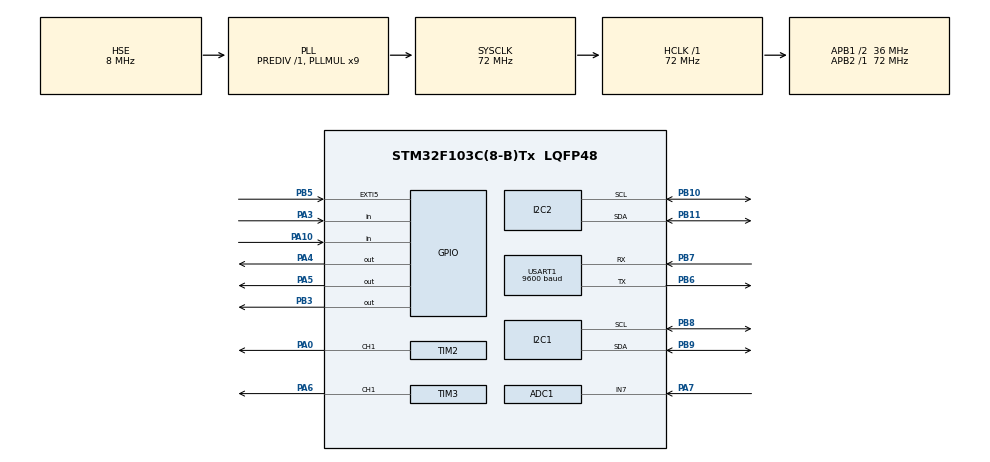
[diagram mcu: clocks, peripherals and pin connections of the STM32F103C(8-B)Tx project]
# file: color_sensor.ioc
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ADC1.Channel-0\#ChannelRegularConversion=ADC_CHANNEL_7
ADC1.NbrOfConversionFlag=1
ADC1.Rank-0\#ChannelRegularConversion=1
ADC1.SamplingTime-0\#ChannelRegularConversion=ADC_SAMPLETIME_239CYCLES_5
ADC1.master=1
I2C1.I2C_Mode=I2C_Fast
Mcu.Family=STM32F1
Mcu.Name=STM32F103C(8-B)Tx
Mcu.Package=LQFP48
NVIC.ADC1_2_IRQn=true\:0\:0\:false\:false\:true\:true\:true\:true
NVIC.EXTI9_5_IRQn=true\:0\:0\:false\:false\:true\:true\:true\:true
NVIC.PriorityGroup=NVIC_PRIORITYGROUP_4
NVIC.TIM2_IRQn=true\:0\:0\:false\:false\:true\:true\:true\:true
NVIC.TIM3_IRQn=true\:0\:0\:false\:false\:true\:true\:true\:true
NVIC.USART1_IRQn=true\:1\:0\:true\:false\:true\:true\:true\:true
PA0-WKUP.Signal=S_TIM2_CH1_ETR
PA10.Signal=GPIO_Input
PA13.Mode=Serial_Wire
PA13.Signal=SYS_JTMS-SWDIO
PA14.Mode=Serial_Wire
PA14.Signal=SYS_JTCK-SWCLK
PA3.GPIO_PuPd=GPIO_PULLDOWN
PA3.Signal=GPIO_Input
PA4.Signal=GPIO_Output
PA5.Signal=GPIO_Output
PA6.Signal=S_TIM3_CH1
PA7.Signal=ADCx_IN7
PB10.Mode=I2C
PB10.Signal=I2C2_SCL
PB11.Mode=I2C
PB11.Signal=I2C2_SDA
PB3.GPIO_PuPd=GPIO_PULLDOWN
PB3.Signal=GPIO_Output
PB5.GPIO_ModeDefaultEXTI=GPIO_MODE_IT_FALLING
PB5.GPIO_PuPd=GPIO_PULLUP
PB5.Signal=GPXTI5
PB6.Mode=Asynchronous
PB6.Signal=USART1_TX
PB7.Mode=Asynchronous
PB7.Signal=USART1_RX
PB8.Mode=I2C
PB8.Signal=I2C1_SCL
PB9.Mode=I2C
PB9.Signal=I2C1_SDA
PD0-OSC_IN.Mode=HSE-External-Oscillator
PD0-OSC_IN.Signal=RCC_OSC_IN
PD1-OSC_OUT.Mode=HSE-External-Oscillator
PD1-OSC_OUT.Signal=RCC_OSC_OUT
ProjectManager.HeapSize=0x200
ProjectManager.StackSize=0x400
ProjectManager.TargetToolchain=STM32CubeIDE
RCC.ADCPresc=RCC_ADCPCLK2_DIV6
RCC.AHBFreq_Value=72000000
RCC.APB1CLKDivider=RCC_HCLK_DIV2
RCC.APB1Freq_Value=36000000
RCC.APB1TimFreq_Value=72000000
RCC.APB2Freq_Value=72000000
RCC.APB2TimFreq_Value=72000000
RCC.HCLKFreq_Value=72000000
RCC.PLLMUL=RCC_PLL_MUL9
RCC.PLLSourceVirtual=RCC_PLLSOURCE_HSE
RCC.SYSCLKFreq_VALUE=72000000
RCC.SYSCLKSource=RCC_SYSCLKSOURCE_PLLCLK
RCC.USBFreq_Value=72000000
SH.ADCx_IN7.0=ADC1_IN7,IN7
SH.S_TIM2_CH1_ETR.0=TIM2_CH1,PWM Generation1 CH1
SH.S_TIM3_CH1.0=TIM3_CH1,PWM Generation1 CH1
TIM2.Channel-PWM\ Generation1\ CH1=TIM_CHANNEL_1
TIM2.Period=10000-1
TIM2.Prescaler=144-1
TIM3.Channel-PWM\ Generation1\ CH1=TIM_CHANNEL_1
TIM3.Period=800-1
TIM3.Prescaler=72-1
USART1.BaudRate=9600
USART1.VirtualMode=VM_ASYNC
VP_TIM2_VS_ClockSourceINT.Mode=Internal
VP_TIM3_VS_ClockSourceINT.Mode=Internal
board=custom

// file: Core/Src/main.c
/* USER CODE BEGIN Header */
/**
  ******************************************************************************
  * @file           : main.c
  * @brief          : Main program body
  ******************************************************************************
  * @attention
  *
  * Copyright (c) 2024 STMicroelectronics.
  * All rights reserved.
  *
  * This software is licensed under terms that can be found in the LICENSE file
  * in the root directory of this software component.
  * If no LICENSE file comes with this software, it is provided AS-IS.
  *
  ******************************************************************************
  */
/* USER CODE END Header */
#include "main.h"

/* USER CODE BEGIN Includes */
#include <string.h>
#include <stdio.h>
#include "i2c_lcd.h"
/* USER CODE END Includes */

ADC_HandleTypeDef hadc1;

I2C_HandleTypeDef hi2c1;
I2C_HandleTypeDef hi2c2;

TIM_HandleTypeDef htim2;
TIM_HandleTypeDef htim3;

UART_HandleTypeDef huart1;

/* USER CODE BEGIN PV */
I2C_LCD_HandleTypeDef lcd1;
#define IR_PIN_1    GPIO_PIN_3
#define IR_PORT_1   GPIOA

#define ENABLE_PIN  GPIO_PIN_4
#define ENABLE_PORT GPIOA
#define DIR_PIN     GPIO_PIN_5
#define DIR_PORT    GPIOA
#define DIR_COUNTERCLOCKWISE      GPIO_PIN_RESET
#define MOTOR_ENABLED      GPIO_PIN_RESET
#define MOTOR_DISABLED      GPIO_PIN_SET

#define BUTTON GPIO_PIN_5
#define BUTTON_PORT GPIOB
// khai bao cho ir va mau sac
char data[50];
int IR_1;
int flag_red = 0;
int flag_green = 0;
int flag_blue = 0;
int flag_error = 0;
int flag =0;

int counting_red = 0;
int counting_green = 0;
int counting_blue = 0;
int flag_IR_1 = 0;
#define RGB_SAMPLES 10

uint32_t red_values[RGB_SAMPLES] = {0};
uint32_t green_values[RGB_SAMPLES] = {0};
uint32_t blue_values[RGB_SAMPLES] = {0};

//khai bao servo
uint32_t new_angle = 0;
uint32_t current_angle = 750;
uint16_t Pulse_up = 500;
//khai bao button
uint8_t Mode = 1;
volatile uint8_t motor_state = 1;
uint8_t toggle_state = 0; // Biến lưu trạng thái bật/tắt
uint8_t last_button_state = 1; // Biến lưu trạng thái nút trước đó (giả sử nút có Pull-up)
//uint32_t speed = 0;
//uint32_t currentspeed = 0;
//uint32_t min_speed = 350;
//uint32_t max_speed = 450;

// khai bao lcd
char buffer_red[50];
char buffer_green[50];
char buffer_blue[50];
/* USER CODE END PV */

void SystemClock_Config(void);
static void MX_GPIO_Init(void);
static void MX_I2C1_Init(void);
static void MX_USART1_UART_Init(void);
static void MX_TIM2_Init(void);
static void MX_TIM3_Init(void);
static void MX_ADC1_Init(void);
static void MX_I2C2_Init(void);

/* USER CODE BEGIN 0 */
#define TCS34725_ADDRESS          (0x29 << 1) /* I2C address */
/* Datasheet is at https://cdn-shop.adafruit.com/datasheets/TCS34725.pdf */
#define TCS34725_COMMAND_BIT      (0x80)      /* Command bit */
#define TCS34725_ENABLE           (0x00)      /* Enable register */
#define TCS34725_ENABLE_AEN       (0x02)      /* RGBC Enable */
#define TCS34725_ENABLE_PON       (0x01)      /* Power on */
#define TCS34725_ATIME            (0x01)      /* Integration time */
#define TCS34725_CONTROL          (0x0F)      /* Set the gain level */
#define TCS34725_ID               (0x12)
/* 0x44 = TCS34721/TCS34725, 0x4D = TCS34723/TCS34727 */
#define TCS34725_CDATAL           (0x14)      /* Clear channel data */
#define TCS34725_CDATAH           (0x15)
#define TCS34725_RDATAL           (0x16)      /* Red channel data */
#define TCS34725_RDATAH           (0x17)
#define TCS34725_GDATAL           (0x18)      /* Green channel data */
#define TCS34725_GDATAH           (0x19)
#define TCS34725_BDATAL           (0x1A)      /* Blue channel data */
#define TCS34725_BDATAH           (0x1B)
/* set the correct delay time in void getRawData() for TCS34725_INTEGRATIONTIME */
#define TCS34725_INTEGRATIONTIME_50MS   0xEB  /* 50ms  - 20 cycles */
#define TCS34725_GAIN_4X                0x01  /* 4x gain  */

uint8_t _tcs34725Initialised = 0;
int red, green, blue;

void write8 (uint8_t reg, uint32_t value);
uint8_t read8(uint8_t reg);
uint16_t read16(uint8_t reg);
void enable(void);
void disable(void);
void setIntegrationTime(uint8_t it);
void setGain(uint8_t gain);
void tcs3272_init( void );
void getRawData (uint16_t *r, uint16_t *g, uint16_t *b, uint16_t *c);
void getRGB(int *R, int *G, int *B);
void AverageFiltered(int* red, int* green, int* blue);
/* Writes a register and an 8 bit value over I2C */
void write8 (uint8_t reg, uint32_t value)
{
    uint8_t txBuffer[2];
    txBuffer[0] = (TCS34725_COMMAND_BIT | reg);
    txBuffer[1] = (value & 0xFF);
    HAL_I2C_Master_Transmit(&hi2c1, TCS34725_ADDRESS, txBuffer, 2, 100);
}

/* Reads an 8 bit value over I2C */
uint8_t read8(uint8_t reg)
{
    uint8_t buffer[1];
    buffer[0] = (TCS34725_COMMAND_BIT | reg);
    HAL_I2C_Master_Transmit(&hi2c1, TCS34725_ADDRESS, buffer, 1, 100);
    HAL_I2C_Master_Receive(&hi2c1, TCS34725_ADDRESS, buffer, 1, 100);
    return buffer[0];
}

/* Reads a 16 bit values over I2C */
uint16_t read16(uint8_t reg)
{
  uint16_t ret;
    uint8_t txBuffer[1],rxBuffer[2];
    txBuffer[0] = (TCS34725_COMMAND_BIT | reg);
    HAL_I2C_Master_Transmit(&hi2c1, TCS34725_ADDRESS, txBuffer, 1, 100);
    HAL_I2C_Master_Receive(&hi2c1, TCS34725_ADDRESS, rxBuffer, 2, 100);
    ret = rxBuffer[1];
    ret <<= 8;
    ret |= rxBuffer[0] & 0xFF;
  return ret;
}

void enable(void)
{
  write8(TCS34725_ENABLE, TCS34725_ENABLE_PON);
  HAL_Delay(3);
  write8(TCS34725_ENABLE, TCS34725_ENABLE_PON | TCS34725_ENABLE_AEN);
  HAL_Delay(50);
}

void disable(void)
{
  /* Turn the device off to save power */
  uint8_t reg = 0;
  reg = read8(TCS34725_ENABLE);
  write8(TCS34725_ENABLE, reg & ~(TCS34725_ENABLE_PON | TCS34725_ENABLE_AEN));
}

void setIntegrationTime(uint8_t itime)
{
  if (_tcs34725Initialised == 0) tcs3272_init();
  write8(TCS34725_ATIME, itime);
}

void setGain(uint8_t gain)
{
  if (_tcs34725Initialised == 0) tcs3272_init();
  write8(TCS34725_CONTROL, gain);
}

void tcs3272_init(void)
{
  /* Make sure we're actually connected */
  uint8_t readValue = read8(TCS34725_ID);
  if ((readValue != 0x44) && (readValue != 0x10))
  {
    return;
  }
  _tcs34725Initialised = 1;
  /* Set default integration time and gain */
  setIntegrationTime(TCS34725_INTEGRATIONTIME_50MS);
  setGain(TCS34725_GAIN_4X);
  /* Note: by default, the device is in power down mode on bootup */
  enable();
}

/* Get raw data */
void getRawData (uint16_t *r, uint16_t *g, uint16_t *b, uint16_t *c)
{
  if (_tcs34725Initialised == 0) tcs3272_init();

  *c = read16(TCS34725_CDATAL);
  *r = read16(TCS34725_RDATAL);
  *g = read16(TCS34725_GDATAL);
  *b = read16(TCS34725_BDATAL);
  /* Delay time is from page no 16/26 from the datasheet  (256 − ATIME)* 2.4ms */
  HAL_Delay(50); // Set delay for (256 − 0xEB)* 2.4ms = 50ms
}

/* Get Red, Green and Blue color from Raw Data */
void getRGB(int *R, int *G, int *B)
{
    uint16_t rawRed, rawGreen, rawBlue, rawClear;
    getRawData(&rawRed, &rawGreen, &rawBlue, &rawClear);
    if(rawClear == 0)
    {
      *R = 0;
      *G = 0;
      *B = 0;
    }
    else
    {
      *R = (int)rawRed * 255 / rawClear;
      *G = (int)rawGreen * 255 / rawClear;
      *B = (int)rawBlue * 255 / rawClear;
    }
}
void AverageFiltered(int* red, int* green, int* blue)
{
    int sum_red = 0, sum_green = 0, sum_blue = 0;
    for (int i = 0; i < RGB_SAMPLES; i++) {

        int current_red, current_green, current_blue;
        getRGB(&current_red, &current_green, &current_blue);

        sum_red += current_red;
        sum_green += current_green;
        sum_blue += current_blue;
    }

    *red = sum_red / RGB_SAMPLES;
    *green = sum_green / RGB_SAMPLES;
    *blue = sum_blue / RGB_SAMPLES;
}

void StepperMotor_Start(void)
{
    //	HAL_ADC_Start_IT(&hadc1);
	HAL_TIM_PWM_Start_IT(&htim3, TIM_CHANNEL_1);
    HAL_GPIO_WritePin(ENABLE_PORT, ENABLE_PIN, MOTOR_ENABLED);
    __HAL_TIM_SET_COMPARE(&htim3, TIM_CHANNEL_1, Pulse_up);
    HAL_GPIO_WritePin(DIR_PORT, DIR_PIN, DIR_COUNTERCLOCKWISE);
}

void StepperMotor_Stop(void) {

    HAL_GPIO_WritePin(ENABLE_PORT, ENABLE_PIN, MOTOR_DISABLED );
    HAL_TIM_PWM_Stop_IT(&htim3, TIM_CHANNEL_1);
}

void checkColor(int red, int green, int blue)
{
//    if ((red > 160) )
//    {
//        flag_red = 1;
//        HAL_GPIO_WritePin(GPIOB, GPIO_PIN_3, GPIO_PIN_RESET);
//    }else if( green > 103 )
//    {
//    	flag_green = 1;
//    	HAL_GPIO_WritePin(GPIOB, GPIO_PIN_3, GPIO_PIN_RESET);
//    }else if( blue > 85)
//    {
//    	flag_blue = 1;
//    	HAL_GPIO_WritePin(GPIOB, GPIO_PIN_3, GPIO_PIN_RESET);
//    }
//

    if ((red > 190 && green < 40 && blue <= 35) )
      {
          flag_red = 1;
          HAL_GPIO_WritePin(GPIOB, GPIO_PIN_3, GPIO_PIN_RESET);
      }else if(red >= 90 && green > 105 && blue > 41)
      {
      	flag_green = 1;
      	HAL_GPIO_WritePin(GPIOB, GPIO_PIN_3, GPIO_PIN_RESET);
      }else if(red < 90 && (green > 88 && green < 100)  && blue > 85)
      {
      	flag_blue = 1;
      	HAL_GPIO_WritePin(GPIOB, GPIO_PIN_3, GPIO_PIN_RESET);
      }else{
      	flag_error = 1;
      }
//    	//flag_error = 1;
//    // detect yellow
//        else if ((red >= 145) && (red <= 160) && (green >= 60 && green <= 70) && (blue >= 22 && blue <= 36))
//        {
//        	flag_error = 1;
//        }
//            // detect orange
//        else if ((red >= 160) && (red < 190) && (green >= 40 && green <= 60) && (blue >= 22 && blue <= 36))
//        {
//        	flag_error = 1;
//        }
//        // detect pink
//        else if ((red >= 188) && (red <= 200) && ( green < 44) && (blue > 35 && blue <= 40))
//        {
//        	flag_error = 1;
//        }
//
//        else
//        {
//        	flag_error = 1;
//        }

}

void updateAngle(uint32_t new_angle)
{
    if (current_angle != new_angle)
    {
        if (current_angle < new_angle)
        {
            for (int y = current_angle; y <= new_angle; y += 3)
            {
                __HAL_TIM_SET_COMPARE(&htim2, TIM_CHANNEL_1, y);
                HAL_Delay(3);
            }
        }
        else if (current_angle > new_angle)
        {
            for (int y = current_angle; y >= new_angle; y -= 3)
            {
                __HAL_TIM_SET_COMPARE(&htim2, TIM_CHANNEL_1, y);
                HAL_Delay(3);
            }
        }
        current_angle = new_angle;
    }
    else
    {
        __HAL_TIM_SET_COMPARE(&htim2, TIM_CHANNEL_1, new_angle);
    }
}

void controlServo(int red, int green, int blue)
{
    if (flag_red == 1)
    {
        new_angle = 750;
        updateAngle(new_angle);
        flag_red = 0;
        counting_red++;
    }
    else if (flag_green == 1)
    {
        new_angle = 250;
        updateAngle(new_angle);
        flag_green = 0;
        counting_green++;
    }
    else if (flag_blue == 1)
    {
        new_angle = 1175;
        updateAngle(new_angle);
        flag_blue = 0;
        counting_blue++;
    }
    else if(flag_error == 1)
    {
    	HAL_GPIO_WritePin(GPIOB, GPIO_PIN_3, GPIO_PIN_SET);
    	HAL_Delay(1000);
    	HAL_GPIO_WritePin(GPIOB, GPIO_PIN_3, GPIO_PIN_RESET);
    	flag_error = 0;
    	StepperMotor_Stop();
    	motor_state = 0;

    }
}

void update_number(int red, int green, int blue)
{
 	  sprintf(buffer_red, "%u" , red);
 	  lcd_gotoxy(&lcd1, 0, 1);
 	  lcd_puts(&lcd1, buffer_red);
 	  sprintf(buffer_green, "%u" , green);
 	  lcd_gotoxy(&lcd1, 7, 1);
 	  lcd_puts(&lcd1, buffer_green);
 	  sprintf(buffer_blue, "%u" , blue);
 	  lcd_gotoxy(&lcd1, 13, 1);
 	  lcd_puts(&lcd1, buffer_blue);
}

void print_out(int red, int green, int blue)
{
 		lcd_gotoxy(&lcd1, 0, 0);
 		lcd_puts(&lcd1, "RED  GREEN  BLUE");
 		update_number(red, green, blue);
}

void checkIRAndControl()
{
    IR_1 = HAL_GPIO_ReadPin(IR_PORT_1, IR_PIN_1);

    if (IR_1 == 0)
    {
        flag_IR_1 = 1;
    }

    if (IR_1 == 1 && flag_IR_1 == 1)
    {
        controlServo(red, green, blue);
        char buffer_counting[100];
        int length_counting = snprintf(buffer_counting, sizeof(buffer_counting), "Red objects: %d, Green objects: %d, Blue objects: %d\r\n", counting_red, counting_green, counting_blue);
        HAL_UART_Transmit(&huart1, (uint8_t*)buffer_counting, length_counting, 1000);
        print_out(counting_red, counting_green, counting_blue);
        flag_IR_1 = 0;
    }
}

/* USER CODE END 0 */

int main(void)
{

  /* MCU Configuration--------------------------------------------------------*/

  /* Reset of all peripherals, Initializes the Flash interface and the Systick. */
  HAL_Init();

  /* Configure the system clock */
  SystemClock_Config();

  /* Initialize all configured peripherals */
  MX_GPIO_Init();
  MX_I2C1_Init();
  MX_USART1_UART_Init();
  MX_TIM2_Init();
  MX_TIM3_Init();
  MX_ADC1_Init();
  MX_I2C2_Init();
  /* USER CODE BEGIN 2 */
  lcd1.hi2c = &hi2c2;
  lcd1.address = 0x4E;
  lcd_init(&lcd1);
  print_out(counting_red, counting_green, counting_blue);
  HAL_TIM_PWM_Start_IT(&htim2, TIM_CHANNEL_1) ;
  StepperMotor_Start();
//  HAL_TIM_PWM_Start_IT(&htim3, TIM_CHANNEL_1);

  /* USER CODE END 2 */

  /* Infinite loop */
  while (1)
  {

    /* USER CODE BEGIN 3 */
	  if (motor_state)
	  {
		  //StepperMotor_Stop();
		  StepperMotor_Start();
	  }
	  else if (motor_state == 0)
	  {
		  StepperMotor_Stop();
	  }
      AverageFiltered(&red, &green, &blue);
	  checkColor(red, green, blue);
	  checkIRAndControl();
	  char buffer[50];
	  int length = snprintf(buffer, sizeof(buffer), "Red: %d, Green: %d, Blue: %d\r\n", red, green, blue);
	  HAL_UART_Transmit(&huart1, (uint8_t*)buffer, length, 1000);
//	  AverageFiltered(&red, &green, &blue);
	  // Kiểm tra IR và control servo
//      IR_1 = HAL_GPIO_ReadPin(IR_PORT_1, IR_PIN_1);
//      if(red  > 140)
//      {
//      flag_red = 1;
//      }
//      else if(green > 105)
//      {
//      flag_green = 1;
//      }
//      else if(blue > 90)
//      {
//      flag_blue = 1;
//      }
//      if(IR_1 == 0 ){
//      flag_IR_1=1;
//      }
//
//      if(IR_1 == 1 && flag_IR_1 == 1 ){
//      if(flag_red == 1)
//      {
//    	  new_angle = 750;
//    	      	  if (current_angle != new_angle)
//    	      	  {
//    	      		  if (current_angle < new_angle)
//    	      	      {
//    	      			  for(int y = current_angle; y <= new_angle;  y+=3)
//    	      			  {
//    	      				  __HAL_TIM_SET_COMPARE(&htim2,TIM_CHANNEL_1, y);
//    	      			        HAL_Delay(3);
//    	      			  }
//    	      	      }
//
//    	      	      else if (current_angle > new_angle)
//    	      	      {
//    	      	    	  for(int y = current_angle; y >= new_angle;  y-=3)
//    	      	    	  {
//    	      	    		  __HAL_TIM_SET_COMPARE(&htim2,TIM_CHANNEL_1, y);
//    	      	    		  HAL_Delay(3);
//    	      	    	  }
//
//    	      	      }
//    	      	   current_angle = new_angle;
//
//    	      	   }
//    	      	  else {
//    	      		  __HAL_TIM_SET_COMPARE(&htim2, TIM_CHANNEL_1, new_angle);
//    	      	  }
//
//    	  flag_red = 0;
//    	  counting_red++;
//      }
//      else if(flag_green == 1)
//      {
//    	  new_angle = 250;
//    	      	  if (current_angle != new_angle)
//    	      	  {
//    	      		  if (current_angle < new_angle)
//    	      	      {
//    	      			  for(int y = current_angle; y <= new_angle;  y+=3)
//    	      			  {
//    	      				  __HAL_TIM_SET_COMPARE(&htim2,TIM_CHANNEL_1, y);
//    	      			        HAL_Delay(3);
//    	      			  }
//    	      	      }
//
//    	      	      else if (current_angle > new_angle)
//    	      	      {
//    	      	    	  for(int y = current_angle; y >= new_angle;  y-=3)
//    	      	    	  {
//    	      	    		  __HAL_TIM_SET_COMPARE(&htim2,TIM_CHANNEL_1, y);
//    	      	    		  HAL_Delay(3);
//    	      	    	  }
//
//    	      	      }
//    	      	   current_angle = new_angle;
//
//    	      	   }
//    	      	  else {
//    	      		  __HAL_TIM_SET_COMPARE(&htim2, TIM_CHANNEL_1, new_angle);
//    	      	  }
//
//          flag_green = 0;
//          counting_green ++;
//      }
//
//      else if(flag_blue == 1 )
//      {
//    	  new_angle = 1175;
//    	      	      	  if (current_angle != new_angle)
//    	      	      	  {
//    	      	      		  if (current_angle < new_angle)
//    	      	      	      {
//    	      	      			  for(int y = current_angle; y <= new_angle; y+=3)
//    	      	      			  {
//    	      	      				  __HAL_TIM_SET_COMPARE(&htim2,TIM_CHANNEL_1, y);
//    	      	      			        HAL_Delay(3);
//    	      	      			  }
//    	      	      	      }
//
//    	      	      	      else if (current_angle > new_angle)
//    	      	      	      {
//    	      	      	    	  for(int y = current_angle; y >= new_angle;  y-=3)
//    	      	      	    	  {
//    	      	      	    		  __HAL_TIM_SET_COMPARE(&htim2,TIM_CHANNEL_1, y);
//    	      	      	    		  HAL_Delay(3);
//    	      	      	    	  }
//
//    	      	      	      }
//    	      	      	   current_angle = new_angle;
//
//    	      	      	   }
//    	      	      	  else {
//    	      	      		  __HAL_TIM_SET_COMPARE(&htim2, TIM_CHANNEL_1, new_angle);
//    	      	      	  }
//    	  flag_blue = 0;
//    	  counting_blue ++;
//
//      }
//      char buffer_counting[100];
//      int length_counting = snprintf(buffer_counting, sizeof(buffer_counting), "Red objects: %d, Green objects: %d, Blue objects: %d\r\n", counting_red, counting_green, counting_blue);
//      HAL_UART_Transmit(&huart1, (uint8_t*)buffer_counting, length_counting, 1000);
//      flag_IR_1 = 0;
//      }
//
//

  }
  /* USER CODE END 3 */
}

void SystemClock_Config(void)
{
  RCC_OscInitTypeDef RCC_OscInitStruct = {0};
  RCC_ClkInitTypeDef RCC_ClkInitStruct = {0};
  RCC_PeriphCLKInitTypeDef PeriphClkInit = {0};

  /** Initializes the RCC Oscillators according to the specified parameters
  * in the RCC_OscInitTypeDef structure.
  */
  RCC_OscInitStruct.OscillatorType = RCC_OSCILLATORTYPE_HSE;
  RCC_OscInitStruct.HSEState = RCC_HSE_ON;
  RCC_OscInitStruct.HSEPredivValue = RCC_HSE_PREDIV_DIV1;
  RCC_OscInitStruct.HSIState = RCC_HSI_ON;
  RCC_OscInitStruct.PLL.PLLState = RCC_PLL_ON;
  RCC_OscInitStruct.PLL.PLLSource = RCC_PLLSOURCE_HSE;
  RCC_OscInitStruct.PLL.PLLMUL = RCC_PLL_MUL9;
  if (HAL_RCC_OscConfig(&RCC_OscInitStruct) != HAL_OK)
  {
    Error_Handler();
  }

  /** Initializes the CPU, AHB and APB buses clocks
  */
  RCC_ClkInitStruct.ClockType = RCC_CLOCKTYPE_HCLK|RCC_CLOCKTYPE_SYSCLK
                              |RCC_CLOCKTYPE_PCLK1|RCC_CLOCKTYPE_PCLK2;
  RCC_ClkInitStruct.SYSCLKSource = RCC_SYSCLKSOURCE_PLLCLK;
  RCC_ClkInitStruct.AHBCLKDivider = RCC_SYSCLK_DIV1;
  RCC_ClkInitStruct.APB1CLKDivider = RCC_HCLK_DIV2;
  RCC_ClkInitStruct.APB2CLKDivider = RCC_HCLK_DIV1;

  if (HAL_RCC_ClockConfig(&RCC_ClkInitStruct, FLASH_LATENCY_2) != HAL_OK)
  {
    Error_Handler();
  }
  PeriphClkInit.PeriphClockSelection = RCC_PERIPHCLK_ADC;
  PeriphClkInit.AdcClockSelection = RCC_ADCPCLK2_DIV6;
  if (HAL_RCCEx_PeriphCLKConfig(&PeriphClkInit) != HAL_OK)
  {
    Error_Handler();
  }
}

static void MX_ADC1_Init(void)
{

  ADC_ChannelConfTypeDef sConfig = {0};

  /** Common config
  */
  hadc1.Instance = ADC1;
  hadc1.Init.ScanConvMode = ADC_SCAN_DISABLE;
  hadc1.Init.ContinuousConvMode = DISABLE;
  hadc1.Init.DiscontinuousConvMode = DISABLE;
  hadc1.Init.ExternalTrigConv = ADC_SOFTWARE_START;
  hadc1.Init.DataAlign = ADC_DATAALIGN_RIGHT;
  hadc1.Init.NbrOfConversion = 1;
  if (HAL_ADC_Init(&hadc1) != HAL_OK)
  {
    Error_Handler();
  }

  /** Configure Regular Channel
  */
  sConfig.Channel = ADC_CHANNEL_7;
  sConfig.Rank = ADC_REGULAR_RANK_1;
  sConfig.SamplingTime = ADC_SAMPLETIME_239CYCLES_5;
  if (HAL_ADC_ConfigChannel(&hadc1, &sConfig) != HAL_OK)
  {
    Error_Handler();
  }

}

static void MX_I2C1_Init(void)
{

  hi2c1.Instance = I2C1;
  hi2c1.Init.ClockSpeed = 400000;
  hi2c1.Init.DutyCycle = I2C_DUTYCYCLE_2;
  hi2c1.Init.OwnAddress1 = 0;
  hi2c1.Init.AddressingMode = I2C_ADDRESSINGMODE_7BIT;
  hi2c1.Init.DualAddressMode = I2C_DUALADDRESS_DISABLE;
  hi2c1.Init.OwnAddress2 = 0;
  hi2c1.Init.GeneralCallMode = I2C_GENERALCALL_DISABLE;
  hi2c1.Init.NoStretchMode = I2C_NOSTRETCH_DISABLE;
  if (HAL_I2C_Init(&hi2c1) != HAL_OK)
  {
    Error_Handler();
  }

}

static void MX_I2C2_Init(void)
{

  hi2c2.Instance = I2C2;
  hi2c2.Init.ClockSpeed = 100000;
  hi2c2.Init.DutyCycle = I2C_DUTYCYCLE_2;
  hi2c2.Init.OwnAddress1 = 0;
  hi2c2.Init.AddressingMode = I2C_ADDRESSINGMODE_7BIT;
  hi2c2.Init.DualAddressMode = I2C_DUALADDRESS_DISABLE;
  hi2c2.Init.OwnAddress2 = 0;
  hi2c2.Init.GeneralCallMode = I2C_GENERALCALL_DISABLE;
  hi2c2.Init.NoStretchMode = I2C_NOSTRETCH_DISABLE;
  if (HAL_I2C_Init(&hi2c2) != HAL_OK)
  {
    Error_Handler();
  }

}

static void MX_TIM2_Init(void)
{

  TIM_ClockConfigTypeDef sClockSourceConfig = {0};
  TIM_MasterConfigTypeDef sMasterConfig = {0};
  TIM_OC_InitTypeDef sConfigOC = {0};

  htim2.Instance = TIM2;
  htim2.Init.Prescaler = 144-1;
  htim2.Init.CounterMode = TIM_COUNTERMODE_UP;
  htim2.Init.Period = 10000-1;
  htim2.Init.ClockDivision = TIM_CLOCKDIVISION_DIV1;
  htim2.Init.AutoReloadPreload = TIM_AUTORELOAD_PRELOAD_DISABLE;
  if (HAL_TIM_Base_Init(&htim2) != HAL_OK)
  {
    Error_Handler();
  }
  sClockSourceConfig.ClockSource = TIM_CLOCKSOURCE_INTERNAL;
  if (HAL_TIM_ConfigClockSource(&htim2, &sClockSourceConfig) != HAL_OK)
  {
    Error_Handler();
  }
  if (HAL_TIM_PWM_Init(&htim2) != HAL_OK)
  {
    Error_Handler();
  }
  sMasterConfig.MasterOutputTrigger = TIM_TRGO_RESET;
  sMasterConfig.MasterSlaveMode = TIM_MASTERSLAVEMODE_DISABLE;
  if (HAL_TIMEx_MasterConfigSynchronization(&htim2, &sMasterConfig) != HAL_OK)
  {
    Error_Handler();
  }
  sConfigOC.OCMode = TIM_OCMODE_PWM1;
  sConfigOC.Pulse = 0;
  sConfigOC.OCPolarity = TIM_OCPOLARITY_HIGH;
  sConfigOC.OCFastMode = TIM_OCFAST_DISABLE;
  if (HAL_TIM_PWM_ConfigChannel(&htim2, &sConfigOC, TIM_CHANNEL_1) != HAL_OK)
  {
    Error_Handler();
  }
  HAL_TIM_MspPostInit(&htim2);

}

static void MX_TIM3_Init(void)
{

  TIM_ClockConfigTypeDef sClockSourceConfig = {0};
  TIM_MasterConfigTypeDef sMasterConfig = {0};
  TIM_OC_InitTypeDef sConfigOC = {0};

  htim3.Instance = TIM3;
  htim3.Init.Prescaler = 72-1;
  htim3.Init.CounterMode = TIM_COUNTERMODE_UP;
  htim3.Init.Period = 800-1;
  htim3.Init.ClockDivision = TIM_CLOCKDIVISION_DIV1;
  htim3.Init.AutoReloadPreload = TIM_AUTORELOAD_PRELOAD_DISABLE;
  if (HAL_TIM_Base_Init(&htim3) != HAL_OK)
  {
    Error_Handler();
  }
  sClockSourceConfig.ClockSource = TIM_CLOCKSOURCE_INTERNAL;
  if (HAL_TIM_ConfigClockSource(&htim3, &sClockSourceConfig) != HAL_OK)
  {
    Error_Handler();
  }
  if (HAL_TIM_PWM_Init(&htim3) != HAL_OK)
  {
    Error_Handler();
  }
  sMasterConfig.MasterOutputTrigger = TIM_TRGO_RESET;
  sMasterConfig.MasterSlaveMode = TIM_MASTERSLAVEMODE_DISABLE;
  if (HAL_TIMEx_MasterConfigSynchronization(&htim3, &sMasterConfig) != HAL_OK)
  {
    Error_Handler();
  }
  sConfigOC.OCMode = TIM_OCMODE_PWM1;
  sConfigOC.Pulse = 0;
  sConfigOC.OCPolarity = TIM_OCPOLARITY_HIGH;
  sConfigOC.OCFastMode = TIM_OCFAST_DISABLE;
  if (HAL_TIM_PWM_ConfigChannel(&htim3, &sConfigOC, TIM_CHANNEL_1) != HAL_OK)
  {
    Error_Handler();
  }
  HAL_TIM_MspPostInit(&htim3);

}

static void MX_USART1_UART_Init(void)
{

  huart1.Instance = USART1;
  huart1.Init.BaudRate = 9600;
  huart1.Init.WordLength = UART_WORDLENGTH_8B;
  huart1.Init.StopBits = UART_STOPBITS_1;
  huart1.Init.Parity = UART_PARITY_NONE;
  huart1.Init.Mode = UART_MODE_TX_RX;
  huart1.Init.HwFlowCtl = UART_HWCONTROL_NONE;
  huart1.Init.OverSampling = UART_OVERSAMPLING_16;
  if (HAL_UART_Init(&huart1) != HAL_OK)
  {
    Error_Handler();
  }

}

static void MX_GPIO_Init(void)
{
  GPIO_InitTypeDef GPIO_InitStruct = {0};

  /* GPIO Ports Clock Enable */
  __HAL_RCC_GPIOD_CLK_ENABLE();
  __HAL_RCC_GPIOA_CLK_ENABLE();
  __HAL_RCC_GPIOB_CLK_ENABLE();

  /*Configure GPIO pin Output Level */
  HAL_GPIO_WritePin(GPIOA, GPIO_PIN_4|GPIO_PIN_5, GPIO_PIN_RESET);

  /*Configure GPIO pin Output Level */
  HAL_GPIO_WritePin(GPIOB, GPIO_PIN_3, GPIO_PIN_RESET);

  /*Configure GPIO pin : PA3 */
  GPIO_InitStruct.Pin = GPIO_PIN_3;
  GPIO_InitStruct.Mode = GPIO_MODE_INPUT;
  GPIO_InitStruct.Pull = GPIO_PULLDOWN;
  HAL_GPIO_Init(GPIOA, &GPIO_InitStruct);

  /*Configure GPIO pins : PA4 PA5 */
  GPIO_InitStruct.Pin = GPIO_PIN_4|GPIO_PIN_5;
  GPIO_InitStruct.Mode = GPIO_MODE_OUTPUT_PP;
  GPIO_InitStruct.Pull = GPIO_NOPULL;
  GPIO_InitStruct.Speed = GPIO_SPEED_FREQ_LOW;
  HAL_GPIO_Init(GPIOA, &GPIO_InitStruct);

  /*Configure GPIO pin : PA10 */
  GPIO_InitStruct.Pin = GPIO_PIN_10;
  GPIO_InitStruct.Mode = GPIO_MODE_INPUT;
  GPIO_InitStruct.Pull = GPIO_NOPULL;
  HAL_GPIO_Init(GPIOA, &GPIO_InitStruct);

  /*Configure GPIO pin : PB3 */
  GPIO_InitStruct.Pin = GPIO_PIN_3;
  GPIO_InitStruct.Mode = GPIO_MODE_OUTPUT_PP;
  GPIO_InitStruct.Pull = GPIO_PULLDOWN;
  GPIO_InitStruct.Speed = GPIO_SPEED_FREQ_LOW;
  HAL_GPIO_Init(GPIOB, &GPIO_InitStruct);

  /*Configure GPIO pin : PB5 */
  GPIO_InitStruct.Pin = GPIO_PIN_5;
  GPIO_InitStruct.Mode = GPIO_MODE_IT_FALLING;
  GPIO_InitStruct.Pull = GPIO_PULLUP;
  HAL_GPIO_Init(GPIOB, &GPIO_InitStruct);

  /* EXTI interrupt init*/
  HAL_NVIC_SetPriority(EXTI9_5_IRQn, 0, 0);
  HAL_NVIC_EnableIRQ(EXTI9_5_IRQn);

}

/* USER CODE BEGIN 4 */
void HAL_GPIO_EXTI_Callback(uint16_t GPIO_Pin)
{

    if (GPIO_Pin == BUTTON) // Kiểm tra ngắt từ nút nhấn
    {
    	motor_state = 1;
        //motor_state = !motor_state; // muôn bat tat thi dung doan nay
       // StepperMotor_Start();
//        if (motor_state == 0)
//        {
//        	//StepperMotor_Start();
//        	StepperMotor_Stop();
//
//        }
    }
}
//long map(long x, long in_min, long in_max, long out_min, long out_max)
//{
//  return (x - in_min) * (out_max - out_min + 1) / (in_max - in_min + 1) + out_min;
//}
//uint32_t readFilteredADC(void) {
//   uint32_t sum = 0;
// for (int i = 0; i < 500; i++) {
//     HAL_ADC_Start(&hadc1);
//      HAL_ADC_PollForConversion(&hadc1, HAL_MAX_DELAY);
//       sum += HAL_ADC_GetValue(&hadc1);
//   }
//  return sum / 500;
//}
//
//
//void HAL_ADC_ConvCpltCallback(ADC_HandleTypeDef* hadc)
//{
//	if(hadc->Instance == ADC1)
//    {
//
//        uint32_t adc_value = readFilteredADC();
//        uint32_t speed = map(adc_value, 0, 4095, min_speed, max_speed);
//
//        while(speed > currentspeed  - 5 && speed < currentspeed  + 5) // Khử nhiễu
//        {
//         	adc_value = readFilteredADC();
//         	speed = map(adc_value, 0, 4095, min_speed, max_speed);
//        }
//    	if (currentspeed  != speed) // kiểm tra xem biến trở có thay đổi giá trị không
//    	{
//    		uint32_t arr_value = (1000000 * 60) / (speed * 200) - 1;
//    		 __HAL_TIM_SET_AUTORELOAD(&htim3, arr_value);
//    		 __HAL_TIM_SET_COMPARE(&htim3, TIM_CHANNEL_1, arr_value/2);
//
//    		 currentspeed = speed;
//
//     }
//
//	}
//}

/* USER CODE END 4 */

void Error_Handler(void)
{
  __disable_irq();
  while (1)
  {
  }
}
